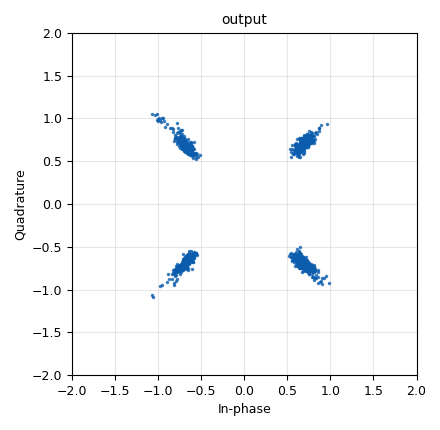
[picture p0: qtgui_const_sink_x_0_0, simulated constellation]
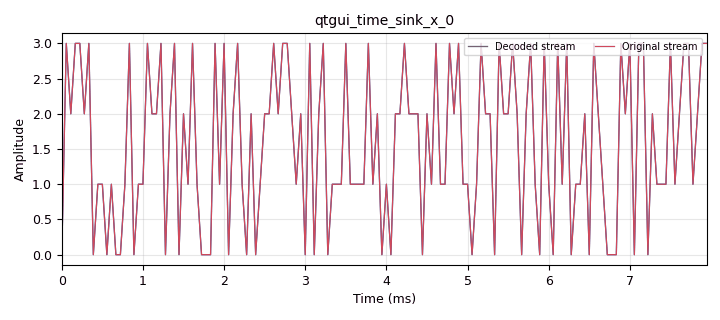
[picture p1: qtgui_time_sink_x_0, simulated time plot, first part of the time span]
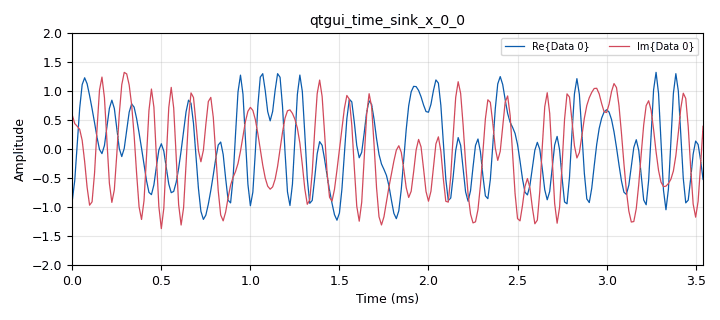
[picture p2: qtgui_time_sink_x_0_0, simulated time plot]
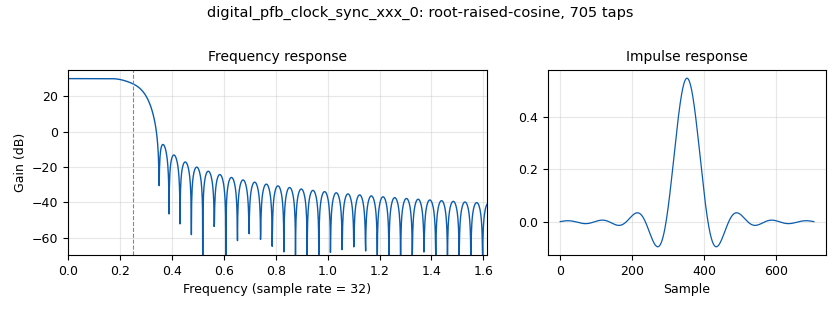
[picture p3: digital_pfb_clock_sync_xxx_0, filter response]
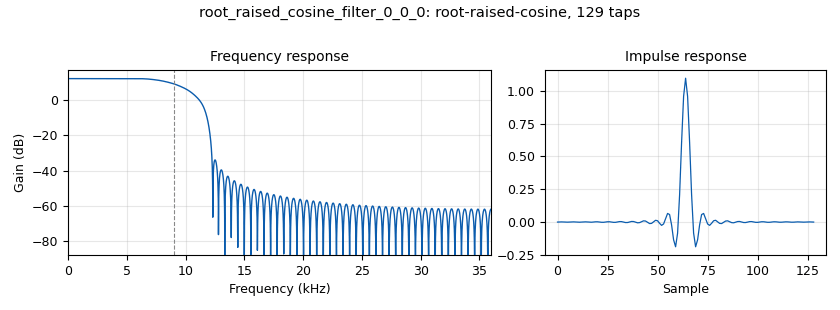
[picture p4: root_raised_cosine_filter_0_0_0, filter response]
options:
  parameters:
    generate_options: qt_gui
    id: pi4dqpsk_mod_demod
    output_language: python
    title: Pi4DQPSK Modulator & Demodulator
  states: {}

blocks:
- name: arity
  id: variable
  parameters:
    value: '4'
  states: {}
- name: channel_rate
  id: variable
  parameters:
    value: '36000'
  states: {}
- name: constel
  id: variable_constellation
  parameters:
    const_points: '[1-1j, 1+1j, -1-1j, 1-1j]'
    precision: '8'
    soft_dec_lut: '''auto'''
    type: dqpsk
  states: {}
- name: decim
  id: variable
  parameters:
    value: '32'
  states: {}
- name: delay
  id: variable_qtgui_range
  parameters:
    comment: 0,3,1,1
    gui_hint: 0,0,1,1
    label: Delay
    outputmsgname: value
    showports: 'False'
    start: '0'
    step: '1'
    stop: '200'
    value: '48'
  states: {}
- name: nfilts
  id: variable
  parameters:
    value: '32'
  states: {}
- name: rrc_taps
  id: variable
  parameters:
    value: firdes.root_raised_cosine(nfilts, nfilts, 1.0/float(sps), 0.35, 11*sps*nfilts)
  states: {}
- name: samp_per_symbol
  id: variable
  parameters:
    value: '4'
  states: {}
- name: samp_rate
  id: variable
  parameters:
    value: symbol_rate*decim*samp_per_symbol
  states: {}
- name: sps
  id: variable
  parameters:
    value: '2'
  states: {}
- name: symbol_rate
  id: variable
  parameters:
    value: '18000'
  states: {}
- name: variable_adaptive_algorithm_0
  id: variable_adaptive_algorithm
  parameters:
    cons: constel
    modulus: '1'
    step_size: '10e-3'
    type: cma
  states: {}
- name: analog_feedforward_agc_cc_0
  id: analog_feedforward_agc_cc
  parameters:
    num_samples: '8'
    reference: '1'
  states: {}
- name: analog_random_source_x_0_0
  id: analog_random_source_x
  parameters:
    max: '4'
    min: '0'
    num_samps: '4192'
    repeat: 'True'
    type: byte
  states: {}
- name: blocks_char_to_float_0_0
  id: blocks_char_to_float
  parameters:
    scale: '1'
  states: {}
- name: blocks_char_to_float_0_0_0
  id: blocks_char_to_float
  parameters:
    scale: '1'
  states: {}
- name: blocks_delay_0
  id: blocks_delay
  parameters:
    delay: int(delay)
    type: float
  states: {}
- name: blocks_float_to_complex_0_0
  id: blocks_float_to_complex
  parameters: {}
  states: {}
- name: blocks_multiply_xx_0_0_0
  id: blocks_multiply_xx
  parameters:
    type: float
  states: {}
- name: blocks_multiply_xx_0_1
  id: blocks_multiply_xx
  parameters:
    type: float
  states: {}
- name: blocks_repeat_0_0_0
  id: blocks_repeat
  parameters:
    interp: samp_per_symbol
    type: float
  states: {}
- name: blocks_repeat_0_1
  id: blocks_repeat
  parameters:
    interp: samp_per_symbol
    type: float
  states: {}
- name: blocks_throttle_0_0_0
  id: blocks_throttle
  parameters:
    samples_per_second: symbol_rate*samp_per_symbol
    type: complex
  states: {}
- name: blocks_vector_source_x_1_0
  id: blocks_vector_source_x
  parameters:
    repeat: 'True'
    type: float
    vector: (1, 0, 0, 0)
  states: {}
- name: digital_constellation_decoder_cb_0
  id: digital_constellation_decoder_cb
  parameters:
    constellation: constel
  states: {}
- name: digital_diff_phasor_cc_0
  id: digital_diff_phasor_cc
  parameters: {}
  states: {}
- name: digital_fll_band_edge_cc_0
  id: digital_fll_band_edge_cc
  parameters:
    filter_size: '45'
    rolloff: '0.35'
    samps_per_sym: sps
    type: cc
    w: cmath.pi/100.0
  states: {}
- name: digital_linear_equalizer_0
  id: digital_linear_equalizer
  parameters:
    alg: variable_adaptive_algorithm_0
    num_taps: '15'
    sps: sps
  states: {}
- name: digital_map_bb_0
  id: digital_map_bb
  parameters:
    map: (0, 1, 3 ,2)
  states: {}
- name: digital_pfb_clock_sync_xxx_0
  id: digital_pfb_clock_sync_xxx
  parameters:
    filter_size: nfilts
    init_phase: nfilts/2
    loop_bw: 2*cmath.pi/100.0
    max_dev: '1.5'
    osps: sps
    sps: sps
    taps: rrc_taps
    type: ccf
  states: {}
- name: epy_block_1_0
  id: epy_block
  parameters:
    _source_code: |
      """
      Embedded Python Blocks:

      Each time this file is saved, GRC will instantiate the first class it finds
      to get ports and parameters of your block. The arguments to __init__  will
      be the parameters. All of them are required to have default values!
      """

      import numpy as np
      from gnuradio import gr


      class blk(gr.sync_block):  # other base classes are basic_block, decim_block, interp_block
          """Embedded Python Block example - a simple multiply const"""

          def __init__(self):  # only default arguments here
              """arguments to this function show up as parameters in GRC"""
              gr.sync_block.__init__(
                  self,
                  name='Pi4DQPSK Mapper',   # will show up in GRC
                  in_sig=[np.uint8],
                  out_sig=[np.float32, np.float32]
              )
              # if an attribute with the same name as a parameter is found,
              # a callback is registered (properties work, too).
              self.index = 0

          def work(self, input_items, output_items):
              # Phase Index Change Table: corresponding to current phase (row 0-7) and current dibit value (column 0-3)
              LK_table = [[1, 3, 7, 5],
                          [2, 4, 0, 6],
                          [3, 5, 1, 7],
                          [4, 6, 2, 0],
                          [5, 7, 3, 1],
                          [6, 0, 4, 2],
                          [7, 1, 5, 3],
                          [0, 2, 6, 4]]
              # Phase value corresponding to Phase Index
              IQ_table = [[ np.cos(np.pi/4 * 0) , np.sin(np.pi/4 * 0) ],
                          [ np.cos(np.pi/4 * 1) , np.sin(np.pi/4 * 1) ],
                          [ np.cos(np.pi/4 * 2) , np.sin(np.pi/4 * 2) ],
                          [ np.cos(np.pi/4 * 3) , np.sin(np.pi/4 * 3) ],
                          [ np.cos(np.pi/4 * 4) , np.sin(np.pi/4 * 4) ],
                          [ np.cos(np.pi/4 * 5) , np.sin(np.pi/4 * 5) ],
                          [ np.cos(np.pi/4 * 6) , np.sin(np.pi/4 * 6) ],
                          [ np.cos(np.pi/4 * 7) , np.sin(np.pi/4 * 7) ]]

              index = 0 # Set initial phase: I = 1 Q = 0
              for i in range (len(input_items[0])):
                  self.index = LK_table[self.index][input_items[0][i]]
                  output_items[0][i] = IQ_table[self.index][0]
                  output_items[1][i] = IQ_table[self.index][1]
              return len(output_items[0])
  states: {}
- name: import_0
  id: import
  parameters:
    imports: import cmath
  states: {}
- name: mmse_resampler_xx_0
  id: mmse_resampler_xx
  parameters:
    phase_shift: '0'
    resamp_ratio: float(samp_rate)/(float(decim)*float(channel_rate))
    type: complex
  states: {}
- name: qtgui_const_sink_x_0_0
  id: qtgui_const_sink_x
  parameters:
    gui_hint: '[4,0,1,2]'
    legend: 'False'
    name: '"output"'
    size: '1024'
    type: complex
  states: {}
- name: qtgui_time_sink_x_0
  id: qtgui_time_sink_x
  parameters:
    autoscale: 'True'
    comment: 1,2,1,2
    gui_hint: 1, 0, 1, 3
    label1: Decoded stream
    label2: Original stream
    name: ''
    nconnections: '2'
    size: '256'
    srate: symbol_rate
    tr_mode: qtgui.TRIG_MODE_AUTO
    type: float
    ymax: '2'
    ymin: '-2'
  states: {}
- name: qtgui_time_sink_x_0_0
  id: qtgui_time_sink_x
  parameters:
    size: '256'
    srate: samp_per_symbol*symbol_rate
    type: complex
    ymax: '2'
    ymin: '-2'
  states: {}
- name: root_raised_cosine_filter_0_0_0
  id: root_raised_cosine_filter
  parameters:
    alpha: '0.35'
    decim: '1'
    gain: samp_per_symbol
    ntaps: 32*samp_per_symbol
    samp_rate: samp_per_symbol*symbol_rate
    sym_rate: symbol_rate
    type: fir_filter_fff
  states: {}
- name: root_raised_cosine_filter_0_1
  id: root_raised_cosine_filter
  parameters:
    alpha: '0.35'
    decim: '1'
    gain: samp_per_symbol
    ntaps: 32*samp_per_symbol
    samp_rate: samp_per_symbol*symbol_rate
    sym_rate: symbol_rate
    type: fir_filter_fff
  states: {}
- name: virtual_sink_1
  id: virtual_sink
  parameters:
    stream_id: Demod_dibits
  states: {}
- name: virtual_sink_1_0
  id: virtual_sink
  parameters:
    stream_id: Mod_output
  states: {}
- name: virtual_sink_1_1
  id: virtual_sink
  parameters:
    stream_id: Source_dibits
  states: {}
- name: virtual_source_1
  id: virtual_source
  parameters:
    stream_id: Source_dibits
  states: {}
- name: virtual_source_1_0
  id: virtual_source
  parameters:
    stream_id: Demod_dibits
  states: {}
- name: virtual_source_1_1
  id: virtual_source
  parameters:
    stream_id: Mod_output
  states: {}

connections:
- [analog_feedforward_agc_cc_0, '0', digital_fll_band_edge_cc_0, '0']
- [analog_random_source_x_0_0, '0', epy_block_1_0, '0']
- [analog_random_source_x_0_0, '0', virtual_sink_1_1, '0']
- [blocks_char_to_float_0_0, '0', blocks_delay_0, '0']
- [blocks_char_to_float_0_0_0, '0', qtgui_time_sink_x_0, '1']
- [blocks_delay_0, '0', qtgui_time_sink_x_0, '0']
- [blocks_float_to_complex_0_0, '0', blocks_throttle_0_0_0, '0']
- [blocks_multiply_xx_0_0_0, '0', root_raised_cosine_filter_0_0_0, '0']
- [blocks_multiply_xx_0_1, '0', root_raised_cosine_filter_0_1, '0']
- [blocks_repeat_0_0_0, '0', blocks_multiply_xx_0_0_0, '1']
- [blocks_repeat_0_1, '0', blocks_multiply_xx_0_1, '0']
- [blocks_throttle_0_0_0, '0', qtgui_time_sink_x_0_0, '0']
- [blocks_throttle_0_0_0, '0', virtual_sink_1_0, '0']
- [blocks_vector_source_x_1_0, '0', blocks_multiply_xx_0_0_0, '0']
- [blocks_vector_source_x_1_0, '0', blocks_multiply_xx_0_1, '1']
- [digital_constellation_decoder_cb_0, '0', digital_map_bb_0, '0']
- [digital_diff_phasor_cc_0, '0', digital_constellation_decoder_cb_0, '0']
- [digital_diff_phasor_cc_0, '0', qtgui_const_sink_x_0_0, '0']
- [digital_fll_band_edge_cc_0, '0', digital_pfb_clock_sync_xxx_0, '0']
- [digital_linear_equalizer_0, '0', digital_diff_phasor_cc_0, '0']
- [digital_map_bb_0, '0', virtual_sink_1, '0']
- [digital_pfb_clock_sync_xxx_0, '0', digital_linear_equalizer_0, '0']
- [epy_block_1_0, '0', blocks_repeat_0_1, '0']
- [epy_block_1_0, '1', blocks_repeat_0_0_0, '0']
- [mmse_resampler_xx_0, '0', analog_feedforward_agc_cc_0, '0']
- [root_raised_cosine_filter_0_0_0, '0', blocks_float_to_complex_0_0, '1']
- [root_raised_cosine_filter_0_1, '0', blocks_float_to_complex_0_0, '0']
- [virtual_source_1, '0', blocks_char_to_float_0_0, '0']
- [virtual_source_1_0, '0', blocks_char_to_float_0_0_0, '0']
- [virtual_source_1_1, '0', mmse_resampler_xx_0, '0']

metadata:
  file_format: 1
  grc_version: 3.10.4.0
